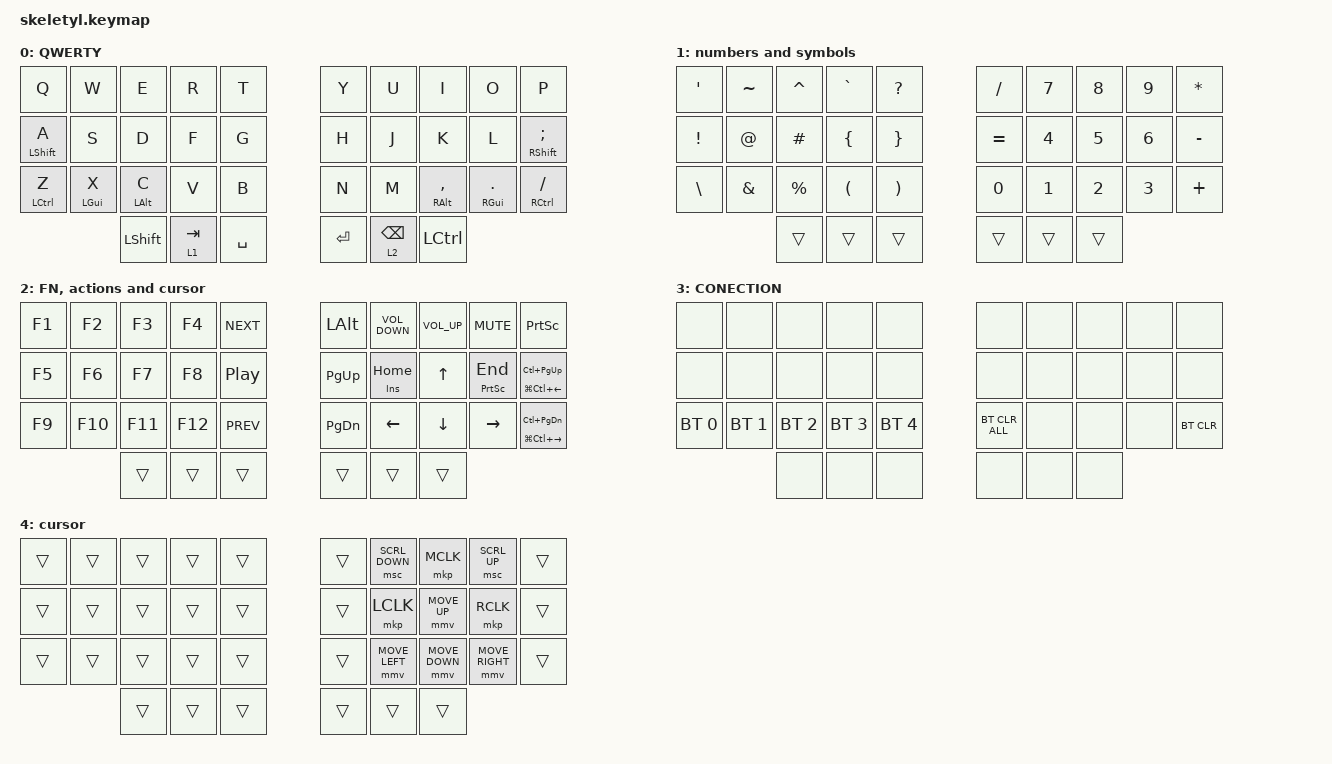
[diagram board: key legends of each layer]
#include <behaviors.dtsi>
#include <dt-bindings/zmk/bt.h>
#include <dt-bindings/zmk/keys.h>
#include <dt-bindings/zmk/pointing.h>

/ {
    behaviors {
        hm: homerow_mods {
            compatible = "zmk,behavior-hold-tap";
            label = "HOMEROW_MODS";
            #binding-cells = <2>;
            tapping-term-ms = <300>;
            quick_tap_ms = <0>;
            flavor = "tap-preferred";
            bindings = <&kp>, <&kp>;
        };
    };

    conditional_layers { compatible = "zmk,conditional-layers"; };

    combos {
        compatible = "zmk,combos";

        esc {
            bindings = <&kp ESC>;
            key-positions = <0 1>;
        };

        caps {
            bindings = <&kp CAPS>;
            key-positions = <0 10>;
        };

        back {
            bindings = <&kp BACKSPACE>;
            key-positions = <8 9>;
        };

        del {
            bindings = <&kp DEL>;
            key-positions = <9 19>;
        };

        qwerty {
            bindings = <&to 0>;
            key-positions = <3 4 5 6>;
        };

        connection {
            bindings = <&to 3>;
            key-positions = <32 0 9 33>;
        };

        cedilha {
            bindings = <&kp RA(COMMA)>;
            key-positions = <29 19>;
        };

        cursor {
            bindings = <&to 4>;
            key-positions = <13 14 15 16>;
        };
    };

    keymap {
        compatible = "zmk,keymap";

        QWERTY {
            bindings = <
&kp Q             &kp W           &kp E           &kp R      &kp T        &kp Y      &kp U            &kp I                &kp O                 &kp P
&hm LEFT_SHIFT A  &kp S           &kp D           &kp F      &kp G        &kp H      &kp J            &kp K                &kp L                 &hm RIGHT_SHIFT SEMI
&hm LCTRL Z       &hm LEFT_GUI X  &hm LEFT_ALT C  &kp V      &kp B        &kp N      &kp M            &hm RIGHT_ALT COMMA  &hm RIGHT_GUI PERIOD  &hm RCTRL SLASH
                                  &kp LEFT_SHIFT  &lt 1 TAB  &kp SPACE    &kp ENTER  &lt 2 BACKSPACE  &kp LEFT_CONTROL
            >;

            label = "QWERTY";
        };

        NUMB-SYMB {
            bindings = <
&kp SINGLE_QUOTE  &kp TILDE      &kp CARET    &kp GRAVE             &kp QUESTION             &kp SLASH     &kp NUMBER_7  &kp NUMBER_8  &kp NUMBER_9  &kp ASTERISK
&kp EXCL          &kp AT_SIGN    &kp HASH     &kp LEFT_BRACE        &kp RIGHT_BRACE          &kp EQUAL     &kp NUMBER_4  &kp NUMBER_5  &kp NUMBER_6  &kp MINUS
&kp BSLH          &kp AMPERSAND  &kp PERCENT  &kp LEFT_PARENTHESIS  &kp RIGHT_PARENTHESIS    &kp NUMBER_0  &kp NUMBER_1  &kp NUMBER_2  &kp NUMBER_3  &kp PLUS
                                 &trans       &trans                &trans                   &trans        &trans        &trans
            >;

            label = "numbers and symbols";
        };

        FUNC-ACTION {
            bindings = <
&kp F1  &kp F2   &kp F3   &kp F4   &kp C_NEXT    &kp LEFT_ALT   &kp C_VOLUME_DOWN  &kp C_VOLUME_UP  &kp C_MUTE           &kp PRINTSCREEN
&kp F5  &kp F6   &kp F7   &kp F8   &kp C_PP      &kp PAGE_UP    &hm INSERT HOME    &kp UP_ARROW     &hm PRINTSCREEN END  &hm LG(LC(LEFT)) LC(PAGE_UP)
&kp F9  &kp F10  &kp F11  &kp F12  &kp C_PREV    &kp PAGE_DOWN  &kp LEFT_ARROW     &kp DOWN_ARROW   &kp RIGHT_ARROW      &hm LG(LC(RIGHT)) LC(PAGE_DOWN)
                 &trans   &trans   &trans        &trans         &trans             &trans
            >;

            label = "FN, actions and cursor";
        };

        CONECTION {
            bindings = <
&none         &none         &none         &none         &none           &none           &none  &none  &none  &none
&none         &none         &none         &none         &none           &none           &none  &none  &none  &none
&bt BT_SEL 0  &bt BT_SEL 1  &bt BT_SEL 2  &bt BT_SEL 3  &bt BT_SEL 4    &bt BT_CLR_ALL  &none  &none  &none  &bt BT_CLR
                            &none         &none         &none           &none           &none  &none
            >;
        };

        cursor {
            bindings = <
&trans  &trans  &trans  &trans  &trans    &trans  &msc SCRL_DOWN  &mkp MCLK       &msc SCRL_UP     &trans
&trans  &trans  &trans  &trans  &trans    &trans  &mkp LCLK       &mmv MOVE_UP    &mkp RCLK        &trans
&trans  &trans  &trans  &trans  &trans    &trans  &mmv MOVE_LEFT  &mmv MOVE_DOWN  &mmv MOVE_RIGHT  &trans
                &trans  &trans  &trans    &trans  &trans          &trans
            >;
        };
    };
};
